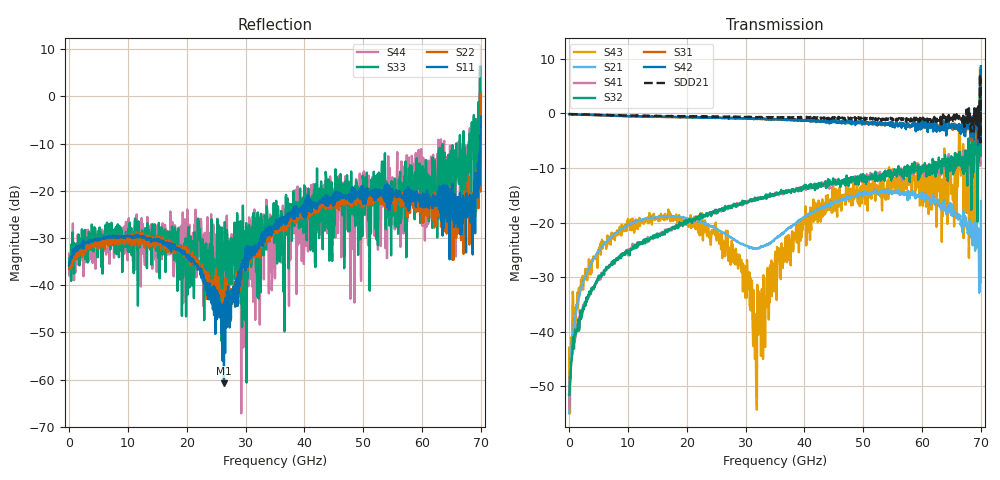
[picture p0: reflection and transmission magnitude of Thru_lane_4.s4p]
!Pstart = -2.000000E+001
!Pstop = -1.000000E+001
!Pstep = 2.564103E-001
! 4/30/2026 2:03:04 PM
! C:\ANRITSUVNA\TEMP\TEMP.S4P
! CHANNEL.1
! TR.MEASUREMENT
! CORRECTED.DATA
! RF.CORRECTION: FULL.FOUR.PORT.CAL.PORT.1.2.3.4
! AVERAGING.OFF
! IF.BANDWIDTH: 100HZ
! SWEEPTYPE:  FREQ.SWEEP(Linear)
! Reference Plane Port Info
! DISTANCE:  0  m  0  m  0  m  0  m
! TIME:  0  s  0  s  0  s  0  s
! PHASE.OFFSET:  0 °  0 °  0 °  0 °
! LOSS:  0  dB  0  dB  0  dB  0  dB
! REF.LOSS:  0  dB  0  dB  0  dB  0  dB
! REF.FREQ:  0  Hz  0  Hz  0  Hz  0  Hz
! Power Info
! POWER:  -20  dBm  -20  dBm  -20  dBm  -20  dBm
! EFF.POWER:  -20  dBm  -20  dBm  -40  dBm  -40  dBm
! SOURCE.ATTEN:  0  dB  0  dB  20  dB  20  dB
! TEST.ATTEN:  0  dB  0  dB  20  dB  20  dB
! Created with skrf 1.9.0 (http://scikit-rf.org).
# Hz S RI R 50.0
!freq ReS11 ImS11 ReS12 ImS12 ReS13 ImS13
! ReS14 ImS14
! ReS21 ImS21 ReS22 ImS22 ReS23 ImS23
! ReS24 ImS24
! ReS31 ImS31 ReS32 ImS32 ReS33 ImS33
! ReS34 ImS34
! ReS41 ImS41 ReS42 ImS42 ReS43 ImS43
! ReS44 ImS44
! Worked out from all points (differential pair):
!   1001 points, 10 MHz to 70 GHz, reference 50 ohm
!   strongest paths, dB at 10 MHz, 17.51 GHz, 35.01 GHz, 52.5 GHz, 70 GHz:
!     S42: -0.1, -0.6, -1.0, -1.8, 8.7
!     S31: -0.1, -0.6, -1.0, -1.8, -1.1
!     S32: -51.6, -21.1, -15.0, -11.9, -3.2
!     S41: -53.9, -21.1, -14.5, -11.4, -1.2
!     S21: -54.9, -18.9, -22.9, -14.4, -16.1
!     S43: -42.9, -19.5, -26.0, -14.0, 5.2
!   taken as a pair (ports 2,1 in; 4,3 out), SDD21 dB: -0.1, -0.5, -0.7, -1.0, 6.2
!   lowest |S11| = -60.8 dB at 26.33 GHz (marker M1), VSWR 1.00, Z = 50.1 + j0.0626 ohm
!   |S11| at or under -10 dB: start of sweep to 69.9 GHz
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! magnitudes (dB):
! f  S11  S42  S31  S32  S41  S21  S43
! 10 MHz  -35.8  -0.1  -0.1  -51.6  -53.9  -54.9  -42.9
! 6.309 GHz  -29.8  -0.4  -0.4  -28.1  -28.6  -23.5  -24.8
! 26.33 GHz  -60.8  -0.8  -0.8  -17.6  -17.6  -21.9  -25.0
! 31.58 GHz  -33.2  -0.9  -1.1  -15.4  -16.0  -24.7  -45.0
! 41.79 GHz  -22.8  -1.2  -1.3  -14.1  -13.0  -17.7  -19.5
! 65.38 GHz  -21.4  -2.3  -2.1  -9.6  -8.4  -17.9  -15.5
! 70 GHz  -4.3  8.7  -1.1  -3.2  -1.2  -16.1  5.2
